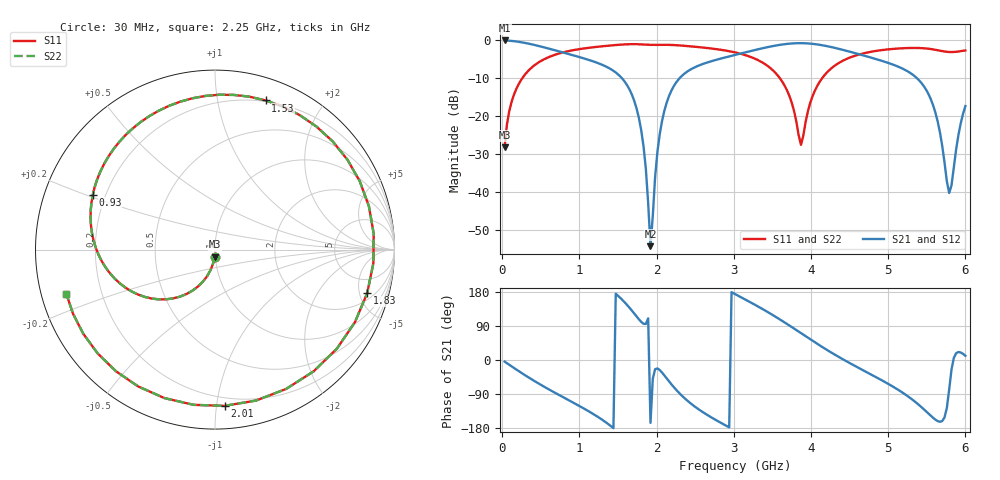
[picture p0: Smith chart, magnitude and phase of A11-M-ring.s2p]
! yapnr Order 0 O0-M: O0-M A11 RING M (ring, family M)
! stackup OSHPARK-4L-FR408HR, nominal parameters; geometry of the OSHPARK-4L-FR408HR design
! model: 2D quasi-static RLGC (Djordjevic-Sarkar, Huray roughness, Wheeler loss); generated by python -m yapnr.rf.coupons expected --stackup OSHPARK-4L-FR408HR --upload M
! reference planes 10 mm from each end; 50 ohm (from the M line's Zc)
# GHz S DB R 50
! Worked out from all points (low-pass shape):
!   200 points, 30 MHz to 6 GHz, reference 50 ohm
!   highest |S21| = -0.02 dB at 30 MHz (marker M1); lowest = -54.3 dB at 1.92 GHz (marker M2)
!   |S21| within 3 dB of the highest: start of sweep to 756.6 MHz; 3.177 GHz to 4.509 GHz (1.332 GHz wide, 34.7 % of centre)
!   lowest |S11| = -28.2 dB at 30 MHz (marker M3), VSWR 1.08, Z = 49.6 - j3.86 ohm
!   |S11| at or under -10 dB: start of sweep to 259 MHz; 3.597 GHz to 4.144 GHz (546.9 MHz wide, 14.1 % of centre)
!   |S22| runs from -28.2 to -1.0 dB; largest |S21 - S12| = 0
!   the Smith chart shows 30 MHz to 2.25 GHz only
!   S11 on the Smith chart (normalised r, x): 30 MHz: 0.99, -0.08; 930 MHz: 0.15, +0.21; 1.53 GHz: 0.19, +1.38; 1.83 GHz: 2.71, -5.92; 2.01 GHz: 0.14, -1.05; 2.25 GHz: 0.07, -0.15
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0.03  -28.21 -93.0  -0.02 -4.3  -0.02 -4.3  -28.21 -93.0
0.12  -16.25 -106.5  -0.14 -16.8  -0.14 -16.8  -16.25 -106.5
0.27  -9.67 -126.9  -0.58 -36.9  -0.58 -36.9  -9.67 -126.9
0.93  -2.54 155.9  -4.01 -113.7  -4.01 -113.7  -2.54 155.9
1.05  -2.15 142.3  -4.72 -127.2  -4.72 -127.2  -2.15 142.3
1.53  -1.13 71.2  -9.55 163.7  -9.55 163.7  -1.13 71.2
1.83  -1.09 -16.0  -27.97 95.5  -27.97 95.5  -1.09 -16.0
1.92  -1.18 -51.0  -54.30 -166.0  -54.30 -166.0  -1.18 -51.0
2.01  -1.19 -86.5  -29.39 -22.3  -29.39 -22.3  -1.19 -86.5
2.04  -1.18 -97.8  -24.72 -26.6  -24.72 -26.6  -1.18 -97.8
2.25  -1.27 -163.3  -11.19 -78.1  -11.19 -78.1  -1.27 -163.3
2.58  -1.85 136.6  -6.37 -135.1  -6.37 -135.1  -1.85 136.6
3.03  -3.24 84.3  -3.76 172.5  -3.76 172.5  -3.24 84.3
3.6  -10.09 23.3  -1.17 106.6  -1.17 106.6  -10.09 23.3
3.87  -27.56 69.7  -0.74 70.8  -0.74 70.8  -27.56 69.7
4.02  -14.71 127.2  -0.92 50.7  -0.92 50.7  -14.71 127.2
4.56  -4.12 72.0  -3.30 -14.6  -3.30 -14.6  -4.12 72.0
5.01  -2.35 23.2  -6.02 -64.1  -6.02 -64.1  -2.35 23.2
5.31  -2.00 -18.7  -8.94 -104.0  -8.94 -104.0  -2.00 -18.7
5.52  -2.20 -63.6  -14.10 -141.1  -14.10 -141.1  -2.20 -63.6
5.79  -3.07 -158.0  -40.27 -77.7  -40.27 -77.7  -3.07 -158.0
6  -2.66 122.1  -17.33 11.2  -17.33 11.2  -2.66 122.1
